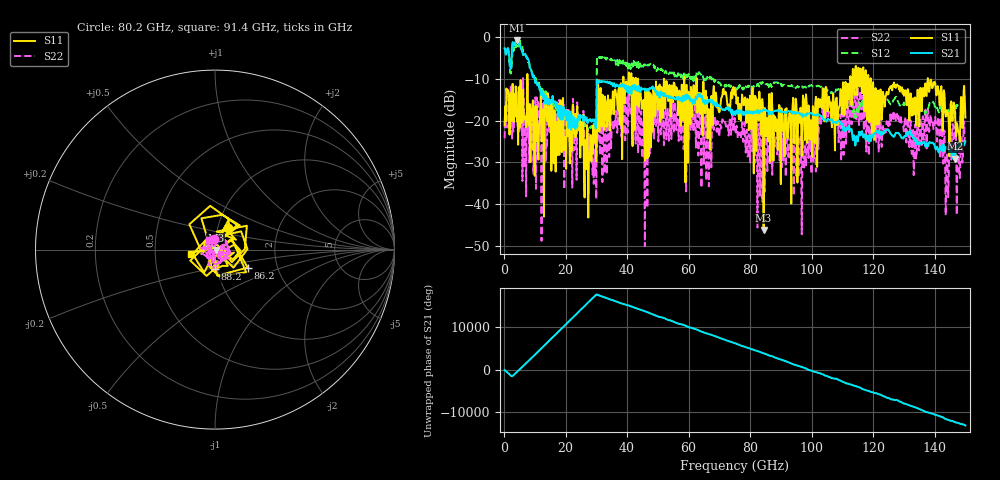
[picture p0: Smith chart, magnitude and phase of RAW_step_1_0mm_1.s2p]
!  2-Port S-parameters saved by WinCal
! VAR NAME=RAW_stepline_1mm_1
! VAR DATE=08/08/2022 23:07:25
! VAR FILENAME=RAW_stepline_1mm_1.S2P
! VAR MeasName=S-Parameters (CALIBRATED_DATA) read from VNA (MS4647B)
! VAR MeasDate=27-Apr-22 16:46:35
! VAR PHYS_PORTS=1,2
! VAR ObjTypeName=DATASET
! VAR IndexType=Frequency
! VAR ChuckHeaterState=Unknown
! VAR ChuckTemp=NaN
! VAR ChuckTempUnits=Unknown
# Hz S RI R 50
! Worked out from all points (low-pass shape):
!   750 points, 200 MHz to 150 GHz, reference 50 ohm
!   highest |S21| = -0.84 dB at 4.2 GHz (marker M1); lowest = -29.1 dB at 146.6 GHz (marker M2)
!   |S21| within 3 dB of the highest: 721.3 MHz to 1.578 GHz (856.5 MHz wide, 74.5 % of centre); 2.541 GHz to 6.046 GHz (3.505 GHz wide, 81.6 % of centre)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
!   lowest |S11| = -46.1 dB at 84.4 GHz (marker M3), VSWR 1.01, Z = 50.4 - j0.218 ohm
!   |S11| at or under -10 dB: 7.631 GHz to 38.78 GHz (31.15 GHz wide, 134 % of centre); 62.6 GHz to 112.6 GHz (49.95 GHz wide, 57 % of centre); 119.2 GHz to 137.8 GHz (18.57 GHz wide, 14.5 % of centre)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
!   |S22| runs from -50.0 to -9.8 dB; largest |S21 - S12| = 1.8
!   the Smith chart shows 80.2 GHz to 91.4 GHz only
!   S11 on the Smith chart (normalised r, x): 80.2 GHz: 1.12, +0.28; 86.2 GHz: 1.41, -0.29; 88.2 GHz: 0.98, -0.22; 91.4 GHz: 0.76, -0.03
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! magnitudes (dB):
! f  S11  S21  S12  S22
! 200 MHz  -21.2  -2.7  -2.6  -24.2
! 4.2 GHz  -20.2  -0.8  -1.4  -18.8
! 25.2 GHz  -20.3  -19.2  -20.9  -22.6
! 26.8 GHz  -31.6  -19.2  -20.8  -24.3
! 29.4 GHz  -23.6  -19.7  -21.4  -27.1
! 30.8 GHz  -17.8  -10.7  -4.9  -20.8
! 41.2 GHz  -10.6  -12.2  -7.6  -18.6
! 46 GHz  -13.0  -13.0  -7.1  -18.7
! 50.2 GHz  -14.7  -13.2  -7.8  -25.0
! 75.2 GHz  -12.6  -18.7  -12.1  -22.0
! 80.2 GHz  -17.1  -17.9  -11.9  -24.7
! 84.4 GHz  -46.1  -17.3  -11.1  -21.6
! 86.2 GHz  -13.7  -18.5  -12.3  -19.4
! 88.2 GHz  -19.2  -17.7  -10.8  -24.1
! 91.4 GHz  -17.3  -18.2  -11.7  -24.4
! 100.2 GHz  -28.6  -18.4  -11.6  -25.7
! 104.6 GHz  -11.9  -20.0  -12.6  -19.5
! 125.2 GHz  -12.3  -22.5  -15.7  -19.7
! 140.8 GHz  -13.1  -26.2  -17.0  -25.0
! 144 GHz  -17.5  -26.6  -17.2  -27.7
! 146.6 GHz  -17.8  -29.1  -19.2  -21.7
! 150 GHz  -19.3  -24.9  -15.8  -25.4
